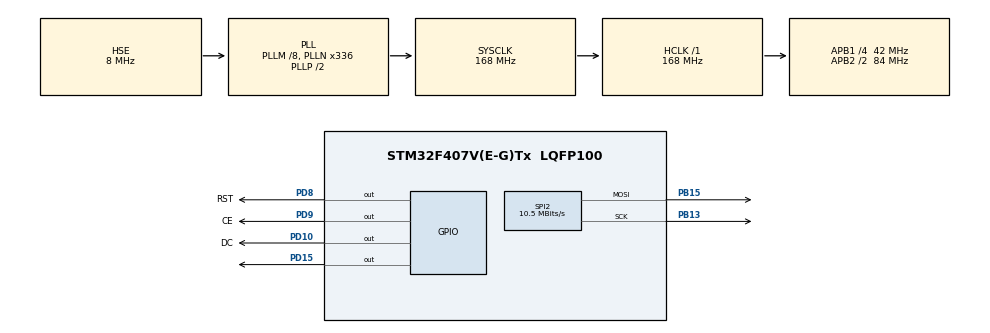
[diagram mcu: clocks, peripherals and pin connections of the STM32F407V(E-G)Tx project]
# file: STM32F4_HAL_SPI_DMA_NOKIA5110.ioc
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Dma.Request0=SPI2_TX
Dma.SPI2_TX.0.Direction=DMA_MEMORY_TO_PERIPH
Dma.SPI2_TX.0.FIFOMode=DMA_FIFOMODE_DISABLE
Dma.SPI2_TX.0.Instance=DMA1_Stream4
Dma.SPI2_TX.0.MemDataAlignment=DMA_MDATAALIGN_BYTE
Dma.SPI2_TX.0.MemInc=DMA_MINC_ENABLE
Dma.SPI2_TX.0.Mode=DMA_NORMAL
Dma.SPI2_TX.0.PeriphDataAlignment=DMA_PDATAALIGN_BYTE
Dma.SPI2_TX.0.PeriphInc=DMA_PINC_DISABLE
Dma.SPI2_TX.0.Priority=DMA_PRIORITY_LOW
Mcu.Family=STM32F4
Mcu.Name=STM32F407V(E-G)Tx
Mcu.Package=LQFP100
NVIC.DMA1_Stream4_IRQn=true\:0\:0\:false\:false\:true\:false
NVIC.PriorityGroup=NVIC_PRIORITYGROUP_0
NVIC.SPI2_IRQn=true\:0\:0\:false\:false\:true\:true
PB13.Mode=TX_Only_Simplex_Unidirect_Master
PB13.Signal=SPI2_SCK
PB15.Mode=TX_Only_Simplex_Unidirect_Master
PB15.Signal=SPI2_MOSI
PC14-OSC32_IN.Mode=LSE-External-Oscillator
PC14-OSC32_IN.Signal=RCC_OSC32_IN
PC15-OSC32_OUT.Mode=LSE-External-Oscillator
PC15-OSC32_OUT.Signal=RCC_OSC32_OUT
PD10.GPIO_Label=DC
PD10.Signal=GPIO_Output
PD15.Signal=GPIO_Output
PD8.GPIO_Label=RST
PD8.Signal=GPIO_Output
PD9.GPIO_Label=CE
PD9.Signal=GPIO_Output
PH0-OSC_IN.Mode=HSE-External-Oscillator
PH0-OSC_IN.Signal=RCC_OSC_IN
PH1-OSC_OUT.Mode=HSE-External-Oscillator
PH1-OSC_OUT.Signal=RCC_OSC_OUT
ProjectManager.HeapSize=0x200
ProjectManager.StackSize=0x400
ProjectManager.TargetToolchain=TrueSTUDIO
RCC.48MHZClocksFreq_Value=48000000
RCC.AHBFreq_Value=168000000
RCC.APB1CLKDivider=RCC_HCLK_DIV4
RCC.APB1Freq_Value=42000000
RCC.APB1TimFreq_Value=84000000
RCC.APB2CLKDivider=RCC_HCLK_DIV2
RCC.APB2Freq_Value=84000000
RCC.APB2TimFreq_Value=168000000
RCC.CortexFreq_Value=168000000
RCC.HCLKFreq_Value=168000000
RCC.HSE_VALUE=8000000
RCC.HSI_VALUE=16000000
RCC.PLLM=8
RCC.PLLN=336
RCC.PLLQ=7
RCC.PLLSourceVirtual=RCC_PLLSOURCE_HSE
RCC.SYSCLKFreq_VALUE=168000000
RCC.SYSCLKSource=RCC_SYSCLKSOURCE_PLLCLK
RCC.VCOOutputFreq_Value=336000000
SPI2.BaudRatePrescaler=SPI_BAUDRATEPRESCALER_4
SPI2.CalculateBaudRate=10.5 MBits/s
SPI2.Direction=SPI_DIRECTION_2LINES
SPI2.Mode=SPI_MODE_MASTER
SPI2.VirtualType=VM_MASTER
board=STM32F4DISCOVERY

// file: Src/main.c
/**
  ******************************************************************************
  * @file           : main.c
  * @brief          : Main program body
  ******************************************************************************
  ** This notice applies to any and all portions of this file
  * that are not between comment pairs USER CODE BEGIN and
  * USER CODE END. Other portions of this file, whether
  * inserted by the user or by software development tools
  * are owned by their respective copyright owners.
  *
  * COPYRIGHT(c) 2019 STMicroelectronics
  *
  * Redistribution and use in source and binary forms, with or without modification,
  * are permitted provided that the following conditions are met:
  *   1. Redistributions of source code must retain the above copyright notice,
  *      this list of conditions and the following disclaimer.
  *   2. Redistributions in binary form must reproduce the above copyright notice,
  *      this list of conditions and the following disclaimer in the documentation
  *      and/or other materials provided with the distribution.
  *   3. Neither the name of STMicroelectronics nor the names of its contributors
  *      may be used to endorse or promote products derived from this software
  *      without specific prior written permission.
  *
  * THIS SOFTWARE IS PROVIDED BY THE COPYRIGHT HOLDERS AND CONTRIBUTORS "AS IS"
  * AND ANY EXPRESS OR IMPLIED WARRANTIES, INCLUDING, BUT NOT LIMITED TO, THE
  * IMPLIED WARRANTIES OF MERCHANTABILITY AND FITNESS FOR A PARTICULAR PURPOSE ARE
  * DISCLAIMED. IN NO EVENT SHALL THE COPYRIGHT HOLDER OR CONTRIBUTORS BE LIABLE
  * FOR ANY DIRECT, INDIRECT, INCIDENTAL, SPECIAL, EXEMPLARY, OR CONSEQUENTIAL
  * DAMAGES (INCLUDING, BUT NOT LIMITED TO, PROCUREMENT OF SUBSTITUTE GOODS OR
  * SERVICES; LOSS OF USE, DATA, OR PROFITS; OR BUSINESS INTERRUPTION) HOWEVER
  * CAUSED AND ON ANY THEORY OF LIABILITY, WHETHER IN CONTRACT, STRICT LIABILITY,
  * OR TORT (INCLUDING NEGLIGENCE OR OTHERWISE) ARISING IN ANY WAY OUT OF THE USE
  * OF THIS SOFTWARE, EVEN IF ADVISED OF THE POSSIBILITY OF SUCH DAMAGE.
  *
  ******************************************************************************
  */
#include "main.h"
#include "stm32f4xx_hal.h"

/* USER CODE BEGIN Includes */
#include "NOKIA5110.h"
#include "FONT_IMAGE.h"

/* USER CODE END Includes */

SPI_HandleTypeDef hspi2;
DMA_HandleTypeDef hdma_spi2_tx;

/* USER CODE BEGIN PV */
/* Private variables ---------------------------------------------------------*/
#define DELAY   2000
/* USER CODE END PV */

void SystemClock_Config(void);
static void MX_GPIO_Init(void);
static void MX_DMA_Init(void);
static void MX_SPI2_Init(void);

/* USER CODE BEGIN PFP */
/* Private function prototypes -----------------------------------------------*/

/* USER CODE END PFP */

int main(void)
{

  /* MCU Configuration----------------------------------------------------------*/

  /* Reset of all peripherals, Initializes the Flash interface and the Systick. */
  HAL_Init();

  /* Configure the system clock */
  SystemClock_Config();

  /* Initialize all configured peripherals */
  MX_GPIO_Init();
  MX_DMA_Init();
  MX_SPI2_Init();
  /* USER CODE BEGIN 2 */
  N5110_Init();

  /* USER CODE END 2 */

  /* Infinite loop */
  while (1)
  {

  /* USER CODE BEGIN 3 */
    /* Small Font Testing */
    N5110_Clear();
    N5110_SetFont(SmallFont);
    N5110_PrintStr(N5110_MAX_WIDTH/2-(4.5*6), N5110_MAX_HEIGHT/2 - 4, "NOKIA5110", true);
    N5110_Update();
    HAL_Delay(DELAY);

    N5110_Clear();
    N5110_SetFont(TinyFont);
    N5110_PrintStr(N5110_MAX_WIDTH/2-(4.5*4), N5110_MAX_HEIGHT/2 - 3, "NOKIA5110", true);
    N5110_Update();
    HAL_Delay(DELAY);

    N5110_Clear();
    N5110_SetFont(MediumNumbers);
    N5110_PrintStr(N5110_MAX_WIDTH/2-(2.5*12), N5110_MAX_HEIGHT/2 - 8, "99-99", true);
    N5110_Update();
    HAL_Delay(DELAY);

    N5110_Clear();
    N5110_SetFont(BigNumbers);
    N5110_PrintStr(N5110_MAX_WIDTH/2-(2.5*14), N5110_MAX_HEIGHT/2 - 12, "99-99", true);
    N5110_Update();
    HAL_Delay(DELAY);

    N5110_Clear();
    N5110_SetFont(SmallFont);
    N5110_PrintStr(N5110_MAX_WIDTH/2-(4.5*6), N5110_MAX_HEIGHT/2 - 4, "NOKIA5110", true);
    N5110_Update();
    HAL_Delay(DELAY);

    N5110_InvertDisplay(true);
    HAL_Delay(DELAY);
    N5110_InvertDisplay(false);
    HAL_Delay(DELAY);

    N5110_DrawHLine(0, N5110_MAX_HEIGHT/2 - 8, N5110_MAX_WIDTH, true);
    N5110_DrawHLine(0, N5110_MAX_HEIGHT/2 + 8, N5110_MAX_WIDTH, true);
    N5110_DrawVLine(0, N5110_MAX_HEIGHT/2 - 8, 16, true);
    N5110_DrawVLine(N5110_MAX_WIDTH-1, N5110_MAX_HEIGHT/2 - 8, 16, true);
    N5110_Update();
    HAL_Delay(DELAY);

    N5110_DrawRect(0, N5110_MAX_HEIGHT/2 - 8, N5110_MAX_WIDTH-1, N5110_MAX_HEIGHT/2 + 8, false, false);
    N5110_Update();
    HAL_Delay(DELAY);

    N5110_Clear();
    N5110_Update();

    for(int i = 0; i < N5110_MAX_WIDTH; i=i+5)
    {
      N5110_DrawLine(0, 0, i, N5110_MAX_HEIGHT-1, true);
    }
    N5110_Update();
    HAL_Delay(DELAY);

    N5110_Clear();
    for(int i = 0; i < N5110_MAX_WIDTH; i=i+5)
    {
      N5110_DrawLine(0, N5110_MAX_HEIGHT-1, i, 0, true);
    }
    N5110_Update();
    HAL_Delay(DELAY);

    N5110_Clear();
    for(int i = 0; i < N5110_MAX_WIDTH; i=i+5)
    {
      N5110_DrawLine(N5110_MAX_WIDTH-1, 0, i, N5110_MAX_HEIGHT-1, true);
    }
    N5110_Update();
    HAL_Delay(DELAY);

    N5110_Clear();
    for(int i = 0; i < N5110_MAX_WIDTH; i=i+5)
    {
      N5110_DrawLine(N5110_MAX_WIDTH-1, N5110_MAX_HEIGHT-1, i, 0, true);
    }
    N5110_Update();
    HAL_Delay(DELAY);

    N5110_Clear();
    for(int i = 0; i < N5110_MAX_HEIGHT/2; i=i+2)
    {
      N5110_DrawRect(N5110_MAX_WIDTH/2-1.7*i,N5110_MAX_HEIGHT/2-1-i,N5110_MAX_WIDTH/2+1.7*i,N5110_MAX_HEIGHT/2+i, true, false);
      N5110_Update();
    }
    HAL_Delay(DELAY);

    N5110_DrawRect(0, 0, N5110_MAX_WIDTH-1, N5110_MAX_HEIGHT-1, true, true);
    N5110_Update();
    HAL_Delay(DELAY);

    N5110_Clear();
    for(int i = 0; i < N5110_MAX_HEIGHT/2; i=i+2)
    {
      N5110_DrawCircle(N5110_MAX_WIDTH/2-1,N5110_MAX_HEIGHT/2-1, i, true, false);
      N5110_Update();
    }
    HAL_Delay(DELAY);

    N5110_DrawCircle(N5110_MAX_WIDTH/2-1,N5110_MAX_HEIGHT/2-1, N5110_MAX_HEIGHT/2-1, true, true);
    N5110_Update();
    HAL_Delay(DELAY);

    N5110_PrintStr(15, N5110_MAX_HEIGHT/2 - 4, "NOKIA5110", false);
    N5110_Update();
    HAL_Delay(DELAY);

    N5110_Clear();
    N5110_DrawBitmap(0, 0, (uint8_t*)Bitmap, N5110_MAX_WIDTH, N5110_MAX_HEIGHT);
    N5110_Update();
    HAL_Delay(DELAY);
  }
  /* USER CODE END 3 */

}

void SystemClock_Config(void)
{

  RCC_OscInitTypeDef RCC_OscInitStruct;
  RCC_ClkInitTypeDef RCC_ClkInitStruct;

    /**Configure the main internal regulator output voltage
    */
  __HAL_RCC_PWR_CLK_ENABLE();

  __HAL_PWR_VOLTAGESCALING_CONFIG(PWR_REGULATOR_VOLTAGE_SCALE1);

    /**Initializes the CPU, AHB and APB busses clocks
    */
  RCC_OscInitStruct.OscillatorType = RCC_OSCILLATORTYPE_HSE;
  RCC_OscInitStruct.HSEState = RCC_HSE_ON;
  RCC_OscInitStruct.PLL.PLLState = RCC_PLL_ON;
  RCC_OscInitStruct.PLL.PLLSource = RCC_PLLSOURCE_HSE;
  RCC_OscInitStruct.PLL.PLLM = 8;
  RCC_OscInitStruct.PLL.PLLN = 336;
  RCC_OscInitStruct.PLL.PLLP = RCC_PLLP_DIV2;
  RCC_OscInitStruct.PLL.PLLQ = 7;
  if (HAL_RCC_OscConfig(&RCC_OscInitStruct) != HAL_OK)
  {
    _Error_Handler(__FILE__, __LINE__);
  }

    /**Initializes the CPU, AHB and APB busses clocks
    */
  RCC_ClkInitStruct.ClockType = RCC_CLOCKTYPE_HCLK|RCC_CLOCKTYPE_SYSCLK
                              |RCC_CLOCKTYPE_PCLK1|RCC_CLOCKTYPE_PCLK2;
  RCC_ClkInitStruct.SYSCLKSource = RCC_SYSCLKSOURCE_PLLCLK;
  RCC_ClkInitStruct.AHBCLKDivider = RCC_SYSCLK_DIV1;
  RCC_ClkInitStruct.APB1CLKDivider = RCC_HCLK_DIV4;
  RCC_ClkInitStruct.APB2CLKDivider = RCC_HCLK_DIV2;

  if (HAL_RCC_ClockConfig(&RCC_ClkInitStruct, FLASH_LATENCY_5) != HAL_OK)
  {
    _Error_Handler(__FILE__, __LINE__);
  }

    /**Configure the Systick interrupt time
    */
  HAL_SYSTICK_Config(HAL_RCC_GetHCLKFreq()/1000);

    /**Configure the Systick
    */
  HAL_SYSTICK_CLKSourceConfig(SYSTICK_CLKSOURCE_HCLK);

  /* SysTick_IRQn interrupt configuration */
  HAL_NVIC_SetPriority(SysTick_IRQn, 0, 0);
}

/* SPI2 init function */
static void MX_SPI2_Init(void)
{

  /* SPI2 parameter configuration*/
  hspi2.Instance = SPI2;
  hspi2.Init.Mode = SPI_MODE_MASTER;
  hspi2.Init.Direction = SPI_DIRECTION_2LINES;
  hspi2.Init.DataSize = SPI_DATASIZE_8BIT;
  hspi2.Init.CLKPolarity = SPI_POLARITY_LOW;
  hspi2.Init.CLKPhase = SPI_PHASE_1EDGE;
  hspi2.Init.NSS = SPI_NSS_SOFT;
  hspi2.Init.BaudRatePrescaler = SPI_BAUDRATEPRESCALER_4;
  hspi2.Init.FirstBit = SPI_FIRSTBIT_MSB;
  hspi2.Init.TIMode = SPI_TIMODE_DISABLE;
  hspi2.Init.CRCCalculation = SPI_CRCCALCULATION_DISABLE;
  hspi2.Init.CRCPolynomial = 10;
  if (HAL_SPI_Init(&hspi2) != HAL_OK)
  {
    _Error_Handler(__FILE__, __LINE__);
  }

}

static void MX_DMA_Init(void)
{
  /* DMA controller clock enable */
  __HAL_RCC_DMA1_CLK_ENABLE();

  /* DMA interrupt init */
  /* DMA1_Stream4_IRQn interrupt configuration */
  HAL_NVIC_SetPriority(DMA1_Stream4_IRQn, 0, 0);
  HAL_NVIC_EnableIRQ(DMA1_Stream4_IRQn);

}

/** Configure pins as
        * Analog
        * Input
        * Output
        * EVENT_OUT
        * EXTI
*/
static void MX_GPIO_Init(void)
{

  GPIO_InitTypeDef GPIO_InitStruct;

  /* GPIO Ports Clock Enable */
  __HAL_RCC_GPIOC_CLK_ENABLE();
  __HAL_RCC_GPIOH_CLK_ENABLE();
  __HAL_RCC_GPIOB_CLK_ENABLE();
  __HAL_RCC_GPIOD_CLK_ENABLE();

  /*Configure GPIO pin Output Level */
  HAL_GPIO_WritePin(GPIOD, RST_Pin|CE_Pin|DC_Pin|GPIO_PIN_15, GPIO_PIN_RESET);

  /*Configure GPIO pins : RST_Pin CE_Pin DC_Pin PD15 */
  GPIO_InitStruct.Pin = RST_Pin|CE_Pin|DC_Pin|GPIO_PIN_15;
  GPIO_InitStruct.Mode = GPIO_MODE_OUTPUT_PP;
  GPIO_InitStruct.Pull = GPIO_NOPULL;
  GPIO_InitStruct.Speed = GPIO_SPEED_FREQ_LOW;
  HAL_GPIO_Init(GPIOD, &GPIO_InitStruct);

}

void _Error_Handler(char *file, int line)
{
  while(1)
  {
  }
}

/************************ (C) COPYRIGHT STMicroelectronics *****END OF FILE****/
